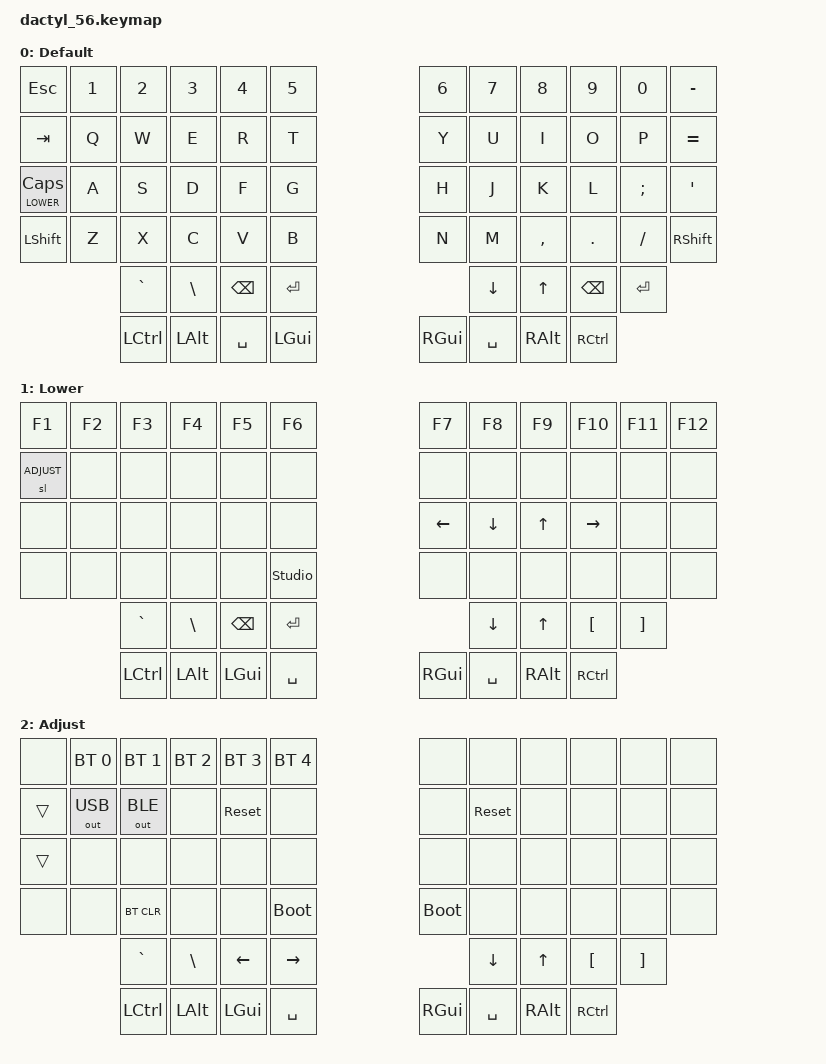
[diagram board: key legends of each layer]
#include <behaviors.dtsi>
#include <dt-bindings/zmk/keys.h>
#include <dt-bindings/zmk/bt.h>
#include <dt-bindings/zmk/outputs.h>

#define DEFAULT 0
#define LOWER   1
#define ADJUST  2

#define HYPER(key) LS(LC(LA(LG(key))))
#define MEH(key)   LS(LC(LA(key)))

&sl {
    release-after-ms = <5000>;
};


&kscan0 {
    debounce-press-ms = <30>;
    debounce-release-ms = <30>;
};

/ {
    keymap {
        compatible = "zmk,keymap";

        default_layer {
            display-name = "Default";
            bindings = <
    &kp ESC        &kp N1    &kp N2   &kp N3    &kp N4    &kp N5                          &kp N6    &kp N7    &kp N8    &kp N9    &kp N0   &kp MINUS
    &kp TAB        &kp Q     &kp W    &kp E     &kp R     &kp T                           &kp Y     &kp U     &kp I     &kp O     &kp P    &kp EQUAL
    &lt LOWER CAPS &kp A     &kp S    &kp D     &kp F     &kp G                           &kp H     &kp J     &kp K     &kp L     &kp SEMI &kp SQT
    &kp LSHFT      &kp Z     &kp X    &kp C     &kp V     &kp B                           &kp N     &kp M     &kp COMMA &kp DOT   &kp FSLH &kp RSHFT
                             &kp GRAVE &kp BSLH &kp BACKSPACE  &kp ENTER                       &kp DOWN  &kp UP    &kp BACKSPACE  &kp ENTER
                             &kp LCTRL &kp LALT &kp SPACE  &kp LGUI                       &kp RGUI  &kp SPACE &kp RALT &kp RCTRL
            >;
        };

        // Lower layer.
        // - Turns number row into function keys.
        // - vim style arrow keys.
        lower_layer {
            display-name = "Lower";
            bindings = <
    &kp F1     &kp F2    &kp F3    &kp F4     &kp F5    &kp F6                            &kp F7      &kp F8       &kp F9    &kp F10    &kp F11  &kp F12
    &sl ADJUST &none     &none     &none      &none     &none                             &none       &none        &none     &none      &none    &none
    &none      &none     &none     &none      &none     &none                             &kp LEFT    &kp DOWN     &kp UP    &kp RIGHT  &none    &none
    &none      &none     &none     &none      &none     &studio_unlock                    &none       &none        &none     &none      &none    &none
                         &kp GRAVE &kp BSLH   &kp BACKSPACE  &kp ENTER                         &kp DOWN    &kp UP       &kp LBKT  &kp RBKT
                         &kp LCTRL &kp LALT   &kp LGUI  &kp SPACE                         &kp RGUI    &kp SPACE    &kp RALT  &kp RCTRL
            >;       };

        // Adjust layer. Contains system controls and overlay toggles.
        // Toggled with LOWER (Caps) + ADJUST (Tab)
        adjust_layer {
            display-name = "Adjust";
            bindings = <
    &none     &bt BT_SEL 0 &bt BT_SEL 1 &bt BT_SEL 2 &bt BT_SEL 3 &bt BT_SEL 4                      &none       &none      &none     &none     &none    &none
    &trans    &out OUT_USB &out OUT_BLE &none        &sys_reset   &none                             &none       &sys_reset &none     &none     &none    &none
    &trans    &none        &none        &none        &none        &none                             &none       &none      &none     &none     &none    &none
    &none     &none        &bt BT_CLR   &none        &none        &bootloader                       &bootloader &none      &none     &none     &none    &none
                           &kp GRAVE    &kp BSLH     &kp LEFT     &kp RIGHT                         &kp DOWN    &kp UP     &kp LBKT  &kp RBKT
                           &kp LCTRL    &kp LALT     &kp LGUI     &kp SPACE                         &kp RGUI    &kp SPACE  &kp RALT  &kp RCTRL
            >;
        };
    };
};
